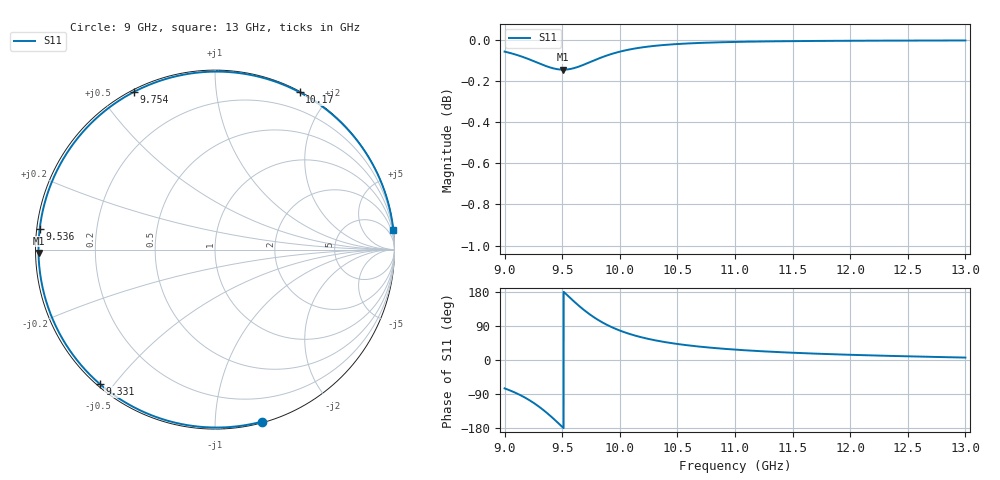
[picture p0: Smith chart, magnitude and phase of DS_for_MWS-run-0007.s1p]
! TOUCHSTONE file generated by CST DESIGN STUDIO
! Date and time: Tue Feb  4 17:19:17 2025
! Project name: C:\Work\MatlabApps\UnitCellOptimizationMatlab\CST\unitcell.cst
! Tree item: Tasks\Sweep1\SPara1\S-Parameters
! Header version: 2024
! Port assignment regex: !\s*Touchstone port\s*([0-9]+)\s*=\s*(CST MWS port|CST DES external port|CST DES block port)\s*(.+)\s* \(\"(.*)\"\)(\s*mode\s*([0-9]+))?.*
! Touchstone port assignment:
! Touchstone port 1 = CST DES external port 1 ("")
# GHz S MA R 50
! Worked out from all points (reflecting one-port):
!   4001 points, 9 GHz to 13 GHz, reference 50 ohm
!   lowest |S11| = -0.1 dB at 9.509 GHz (marker M1), VSWR 119.84, Z = 0.417 - j0.469 ohm
!   phase of S11 starts at -75 deg and turns -279 deg over the sweep
!   S11 on the Smith chart (normalised r, x): 9 GHz: 0.01, -1.31; 9.331 GHz: 0.01, -0.46; 9.536 GHz: 0.01, +0.06; 9.754 GHz: 0.01, +0.61; 10.17 GHz: 0.01, +1.68; 13 GHz: 0, +18
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9  0.9934 -74.9
9.089  0.9919 -85.8
9.192  0.9897 -101.8
9.265  0.9878 -115.9
9.331  0.9861 -130.7
9.377  0.985 -142.2
9.424  0.9841 -154.8
9.463  0.9837 -165.7
9.5  0.9835 -176.3
9.509  0.9834 -178.9
9.536  0.9835 173.3
9.59  0.9841 157.9
9.65  0.9853 141.8
9.701  0.9865 129.1
9.754  0.988 117.2
9.805  0.9893 107.0
9.861  0.9907 97.1
10  0.9934 77.7
10.08  0.9946 69.2
10.166  0.9955 61.7
10.318  0.9967 51.3
10.5  0.9977 42.3
10.722  0.9983 34.4
11  0.9988 27.4
11.5  0.9993 19.2
12  0.9995 13.7
12.5  0.9996 9.7
13  0.9997 6.4
